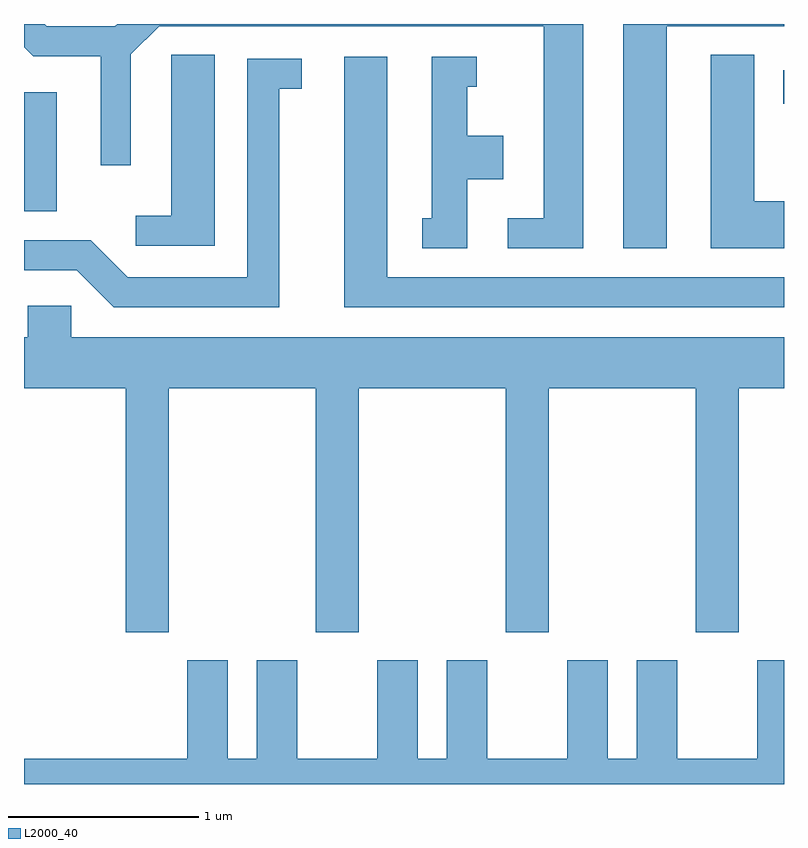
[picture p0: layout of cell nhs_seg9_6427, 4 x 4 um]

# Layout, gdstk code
import gdstk
lib = gdstk.Library(unit=1e-6, precision=1e-09)
def R(c, l, rs):  # rectangles x0, y0, x1, y1
    for r in rs: c.add(gdstk.rectangle(r[:2], r[2:], *l))
def P(c, l, *ps):  # polygons
    for p in ps: c.add(gdstk.Polygon(p, *l))
L2000_40 = (2000, 40)

nhs_seg9_6427 = lib.new_cell('nhs_seg9_6427')
R(nhs_seg9_6427, L2000_40, [(375.611,1959.446,375.784,1960.074), (379.606,1960.011,379.611,1960.189)])
P(nhs_seg9_6427, L2000_40, [(378.554,1960.432),(376.102,1960.432),(376.089,1960.419),(375.732,1960.419),(375.719,1960.432),(375.611,1960.432),(375.611,1960.309),(375.659,1960.261),(376.016,1960.261),(376.016,1959.688),(376.174,1959.688),(376.174,1960.274),(376.322,1960.421),(378.346,1960.421),(378.346,1959.409),(378.158,1959.409),(378.158,1959.251),(378.554,1959.251)],
  [(378.994,1960.421),(379.611,1960.421),(379.611,1960.432),(378.766,1960.432),(378.766,1959.251),(378.994,1959.251)],
  [(376.614,1960.269),(376.386,1960.269),(376.386,1959.424),(376.198,1959.424),(376.198,1959.266),(376.614,1959.266)],
  [(379.611,1959.499),(379.454,1959.499),(379.454,1960.269),(379.226,1960.269),(379.226,1959.251),(379.611,1959.251)],
  [(379.611,1959.099),(377.524,1959.099),(377.524,1960.259),(377.296,1960.259),(377.296,1958.941),(379.611,1958.941)],
  [(377.944,1959.616),(378.134,1959.616),(378.134,1959.844),(377.944,1959.844),(377.944,1960.101),(377.993,1960.101),(377.993,1960.259),(377.756,1960.259),(377.756,1959.409),(377.708,1959.409),(377.708,1959.251),(377.944,1959.251)],
  [(376.954,1960.091),(377.073,1960.091),(377.073,1960.249),(376.786,1960.249),(376.786,1959.099),(376.157,1959.099),(375.962,1959.294),(375.611,1959.294),(375.611,1959.136),(375.889,1959.136),(376.084,1958.941),(376.954,1958.941)],
  [(376.374,1958.516),(377.146,1958.516),(377.146,1957.231),(377.374,1957.231),(377.374,1958.516),(378.146,1958.516),(378.146,1957.231),(378.374,1957.231),(378.374,1958.516),(379.146,1958.516),(379.146,1957.231),(379.374,1957.231),(379.374,1958.516),(379.611,1958.516),(379.611,1958.784),(375.859,1958.784),(375.859,1958.949),(375.631,1958.949),(375.631,1958.784),(375.611,1958.784),(375.611,1958.516),(376.146,1958.516),(376.146,1957.231),(376.374,1957.231)],
  [(379.611,1957.084),(379.471,1957.084),(379.471,1956.564),(379.049,1956.564),(379.049,1957.084),(378.836,1957.084),(378.836,1956.564),(378.684,1956.564),(378.684,1957.084),(378.471,1957.084),(378.471,1956.564),(378.049,1956.564),(378.049,1957.084),(377.836,1957.084),(377.836,1956.564),(377.684,1956.564),(377.684,1957.084),(377.471,1957.084),(377.471,1956.564),(377.049,1956.564),(377.049,1957.084),(376.836,1957.084),(376.836,1956.564),(376.684,1956.564),(376.684,1957.084),(376.471,1957.084),(376.471,1956.564),(375.611,1956.564),(375.611,1956.432),(379.611,1956.432)])

lib.write_gds('nhs_seg9_6427.gds')
